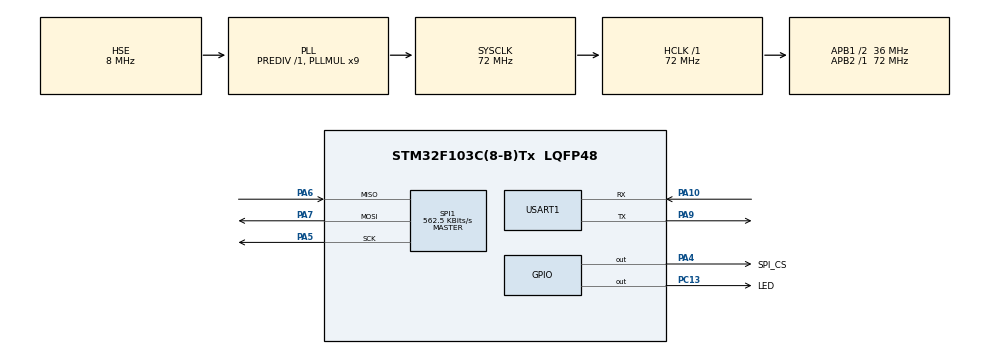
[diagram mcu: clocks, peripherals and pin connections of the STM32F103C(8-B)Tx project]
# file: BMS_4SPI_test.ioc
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Dma.Request0=USART1_RX
Dma.Request1=USART1_TX
Dma.USART1_RX.0.Direction=DMA_PERIPH_TO_MEMORY
Dma.USART1_RX.0.Instance=DMA1_Channel5
Dma.USART1_RX.0.MemDataAlignment=DMA_MDATAALIGN_BYTE
Dma.USART1_RX.0.MemInc=DMA_MINC_ENABLE
Dma.USART1_RX.0.Mode=DMA_NORMAL
Dma.USART1_RX.0.PeriphDataAlignment=DMA_PDATAALIGN_BYTE
Dma.USART1_RX.0.PeriphInc=DMA_PINC_DISABLE
Dma.USART1_RX.0.Priority=DMA_PRIORITY_LOW
Dma.USART1_TX.1.Direction=DMA_MEMORY_TO_PERIPH
Dma.USART1_TX.1.Instance=DMA1_Channel4
Dma.USART1_TX.1.MemDataAlignment=DMA_MDATAALIGN_BYTE
Dma.USART1_TX.1.MemInc=DMA_MINC_ENABLE
Dma.USART1_TX.1.Mode=DMA_NORMAL
Dma.USART1_TX.1.PeriphDataAlignment=DMA_PDATAALIGN_BYTE
Dma.USART1_TX.1.PeriphInc=DMA_PINC_DISABLE
Dma.USART1_TX.1.Priority=DMA_PRIORITY_LOW
Mcu.Family=STM32F1
Mcu.Name=STM32F103C(8-B)Tx
Mcu.Package=LQFP48
NVIC.DMA1_Channel4_IRQn=true\:0\:0\:false\:false\:true\:false\:true\:true
NVIC.DMA1_Channel5_IRQn=true\:0\:0\:false\:false\:true\:false\:true\:true
NVIC.PriorityGroup=NVIC_PRIORITYGROUP_4
NVIC.USART1_IRQn=true\:0\:0\:false\:false\:true\:true\:true\:true
PA10.Mode=Asynchronous
PA10.Signal=USART1_RX
PA13.Mode=Serial_Wire
PA13.Signal=SYS_JTMS-SWDIO
PA14.Mode=Serial_Wire
PA14.Signal=SYS_JTCK-SWCLK
PA4.GPIO_Label=SPI_CS
PA4.Signal=GPIO_Output
PA5.Mode=Full_Duplex_Master
PA5.Signal=SPI1_SCK
PA6.Mode=Full_Duplex_Master
PA6.Signal=SPI1_MISO
PA7.Mode=Full_Duplex_Master
PA7.Signal=SPI1_MOSI
PA9.Mode=Asynchronous
PA9.Signal=USART1_TX
PC13-TAMPER-RTC.GPIO_Label=LED
PC13-TAMPER-RTC.Signal=GPIO_Output
PD0-OSC_IN.Mode=HSE-External-Oscillator
PD0-OSC_IN.Signal=RCC_OSC_IN
PD1-OSC_OUT.Mode=HSE-External-Oscillator
PD1-OSC_OUT.Signal=RCC_OSC_OUT
ProjectManager.HeapSize=0x200
ProjectManager.StackSize=0x400
ProjectManager.TargetToolchain=CMake
RCC.AHBFreq_Value=72000000
RCC.APB1CLKDivider=RCC_HCLK_DIV2
RCC.APB1Freq_Value=36000000
RCC.APB1TimFreq_Value=72000000
RCC.APB2Freq_Value=72000000
RCC.APB2TimFreq_Value=72000000
RCC.HCLKFreq_Value=72000000
RCC.PLLMUL=RCC_PLL_MUL9
RCC.PLLSourceVirtual=RCC_PLLSOURCE_HSE
RCC.SYSCLKFreq_VALUE=72000000
RCC.SYSCLKSource=RCC_SYSCLKSOURCE_PLLCLK
RCC.USBFreq_Value=72000000
SPI1.BaudRatePrescaler=SPI_BAUDRATEPRESCALER_128
SPI1.CLKPhase=SPI_PHASE_2EDGE
SPI1.CLKPolarity=SPI_POLARITY_HIGH
SPI1.CalculateBaudRate=562.5 KBits/s
SPI1.Direction=SPI_DIRECTION_2LINES
SPI1.Mode=SPI_MODE_MASTER
SPI1.VirtualType=VM_MASTER
USART1.VirtualMode=VM_ASYNC
board=custom

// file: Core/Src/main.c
/* USER CODE BEGIN Header */
/**
 ******************************************************************************
 * @file           : main.c
 * @brief          : Main program body
 ******************************************************************************
 * @attention
 *
 * Copyright (c) 2026 STMicroelectronics.
 * All rights reserved.
 *
 * This software is licensed under terms that can be found in the LICENSE file
 * in the root directory of this software component.
 * If no LICENSE file comes with this software, it is provided AS-IS.
 *
 ******************************************************************************
 */
/* USER CODE END Header */
#include "main.h"
#include "dma.h"
#include "spi.h"
#include "stm32f1xx_hal.h"
#include "usart.h"
#include "gpio.h"

/* USER CODE BEGIN Includes */
#include <stdint.h>
#include <stdio.h>
#include <string.h>
#include <math.h>
#include "ltc6811.h"
#include "bms.h"
#include "temperature.h"
/* USER CODE END Includes */

/* USER CODE BEGIN PTD */
typedef struct
{
  uint8_t ov;
  uint8_t uv;
  uint8_t ot;
  uint8_t ut;
  uint8_t open;
  uint8_t comm;
} AMS_Fault_t;
/* USER CODE END PTD */

/* USER CODE BEGIN PV */
uint16_t cell_raw[TOTAL_CELL]; // 存储所有电池的电压
CellFault_t fault[TOTAL_CELL];
AMS_Fault_t ams_fault;
float last_voltage[TOTAL_CELL] = {0};
uint8_t ov_cnt[TOTAL_CELL] = {0};
uint8_t uv_cnt[TOTAL_CELL] = {0};
uint8_t open_cnt[TOTAL_CELL] = {0};
uint8_t spike_cnt[TOTAL_CELL] = {0};
uint8_t comm_cnt = 0;
uint8_t uart_dma_busy = 0;
/* USER CODE END PV */

void SystemClock_Config(void);
/* USER CODE BEGIN PFP */
void LTC6811_Init(void);
void LTC6811_write_config(uint8_t *config);
int LTC6811_read_cells(uint16_t *cell);
uint16_t pec15_calc(uint8_t *data, int len);
void spi_txrx(uint8_t *tx, uint8_t *rx, uint16_t len);
void LTC6811_wakeup(void);
void LTC6811_cmd(uint8_t cmd0, uint8_t cmd1);
void LTC6811_read_reg(uint8_t cmd0, uint8_t cmd1, uint8_t *rx);
void uart_dma_transmit(const char *message);
//void check_voltage_fault(uint16_t *raw);
//void check_open_wire(uint16_t *raw);
//void check_spike(uint16_t *raw);
//void BMS_FaultDetect(uint16_t *cell_raw);
float raw_to_voltage(uint16_t raw);
void LTC6811_clear_status(void);
void LTC6811_read_status(void);
void LTC6811_start_conversion(void);
/* USER CODE END PFP */

/* USER CODE BEGIN 0 */
void HAL_UART_TxCpltCallback(UART_HandleTypeDef *huart);

void uart_dma_transmit(const char *message) {
  // 等待上一次传输完成
  uint32_t timeout = 1000; // 1秒超时
  while (uart_dma_busy && timeout--) {
    HAL_Delay(1);
  }

  uart_dma_busy = 1;
  HAL_UART_Transmit_DMA(&huart1, (uint8_t *)message, strlen(message));

  // 等待当前传输完成，确保 message 内容在 DMA 传输期间仍然有效
  timeout = 1000;
  while (uart_dma_busy && timeout--) {
    HAL_Delay(1);
  }
}

void HAL_UART_TxCpltCallback(UART_HandleTypeDef *huart) {
  if (huart->Instance == USART1) {
    uart_dma_busy = 0;
  }
}
/* USER CODE END 0 */

int main(void)
{

  /* MCU Configuration--------------------------------------------------------*/

  /* Reset of all peripherals, Initializes the Flash interface and the Systick. */
  HAL_Init();

  /* Configure the system clock */
  SystemClock_Config();

  /* Initialize all configured peripherals */
  MX_GPIO_Init();
  MX_DMA_Init();
  MX_SPI1_Init();
  MX_USART1_UART_Init();
  /* USER CODE BEGIN 2 */

  // 初始化LTC6811
  LTC6811_Init();
  Temperature_Init();

  // 初始化变量
  memset(cell_raw, 0, sizeof(cell_raw));
  memset(fault, 0, sizeof(fault));
  memset(last_voltage, 0, sizeof(last_voltage));
  memset(ov_cnt, 0, sizeof(ov_cnt));
  memset(uv_cnt, 0, sizeof(uv_cnt));
  memset(open_cnt, 0, sizeof(open_cnt));
  memset(spike_cnt, 0, sizeof(spike_cnt));
  comm_cnt = 0;
  /* USER CODE END 2 */

  /* Infinite loop */
  /* USER CODE BEGIN WHILE */
  while (1) {
    LTC6811_start_conversion();
    // 读取15节电池
    if (LTC6811_read_cells(cell_raw) == 0)
    {
      // 故障检测
      /*
      BMS_FaultDetect(cell_raw);

      // 打印故障信息
      for (int i = 0; i < 15; i++) {
        if (fault[i].ov) {
          char buffer[64];
          snprintf(buffer, sizeof(buffer), "Cell %d OV!\r\n", i + 1);
          uart_dma_transmit(buffer);
        }
        if (fault[i].uv) {
          char buffer[64];
          snprintf(buffer, sizeof(buffer), "Cell %d UV!\r\n", i + 1);
          uart_dma_transmit(buffer);
        }
        if (fault[i].open) {
          char buffer[64];
          snprintf(buffer, sizeof(buffer), "Cell %d OPEN!\r\n", i + 1);
          uart_dma_transmit(buffer);
        }
        if (fault[i].spike) {
          char buffer[64];
          snprintf(buffer, sizeof(buffer), "Cell %d SPIKE!\r\n", i + 1);
          uart_dma_transmit(buffer);
        }
      }*/

      // 打印电压
      char buffer[128];
      snprintf(buffer, sizeof(buffer), "Cell Voltages:\r\n");
      uart_dma_transmit(buffer);

      for (int i = 0; i < TOTAL_CELL; i++) {
        unsigned int raw = cell_raw[i];
        unsigned int volts = raw / 10000;
        unsigned int frac = raw % 10000;
        snprintf(buffer, sizeof(buffer), "Cell %02d: %u.%04u V\r\n", i + 1, volts, frac);
        uart_dma_transmit(buffer);
      }

      float temperature_c = 0.0f;
      int temp_result = Temperature_ReadGPIO4(&temperature_c);
      if (temp_result == 0) {
        int temp100 = (int)(temperature_c * 100.0f + (temperature_c >= 0 ? 0.5f : -0.5f));
        int temp_int = temp100 / 100;
        int temp_frac = temp100 % 100;
        if (temp_frac < 0) {
          temp_frac = -temp_frac;
        }
        snprintf(buffer, sizeof(buffer), "GPIO4 Temperature: %d.%02d C\r\n", temp_int, temp_frac);
      } else {
        if (temp_result == -2) {
          snprintf(buffer, sizeof(buffer), "GPIO4 Temperature Read Error: Raw value is 0\r\n");
        } else if (temp_result == -3) {
          snprintf(buffer, sizeof(buffer), "GPIO4 Temperature Read Error: Invalid temperature (NaN)\r\n");
        } else if (temp_result < 0) {
          // PEC 失败，temp_result = -(grp * TOTAL_IC + ic + 1)
          int error_code = -temp_result - 1;
          int grp = error_code / TOTAL_IC;
          int ic = error_code % TOTAL_IC;
          snprintf(buffer, sizeof(buffer), "GPIO4 Temperature Read Error: PEC failure in group %d, IC %d\r\n", grp, ic);
        } else {
          snprintf(buffer, sizeof(buffer), "GPIO4 Temperature Read Error: Unknown error %d\r\n", temp_result);
        }
      }
      uart_dma_transmit(buffer);

      snprintf(buffer, sizeof(buffer), "----------------------\r\n");
      uart_dma_transmit(buffer);

    }
    else {
      char buffer[64];
      snprintf(buffer, sizeof(buffer), "LTC6811 Read Error!\r\n");
      uart_dma_transmit(buffer);
      HAL_Delay(10);
      comm_cnt++;
      if (comm_cnt >= COMM_FAULT_TH) {
        ams_fault.comm = 1;
        snprintf(buffer, sizeof(buffer), "Communication Fault!\r\n");
        uart_dma_transmit(buffer);
      }
    }

    HAL_Delay(1000);
    /* USER CODE END WHILE */

  }
}

void SystemClock_Config(void)
{
  RCC_OscInitTypeDef RCC_OscInitStruct = {0};
  RCC_ClkInitTypeDef RCC_ClkInitStruct = {0};

  /** Initializes the RCC Oscillators according to the specified parameters
  * in the RCC_OscInitTypeDef structure.
  */
  RCC_OscInitStruct.OscillatorType = RCC_OSCILLATORTYPE_HSE;
  RCC_OscInitStruct.HSEState = RCC_HSE_ON;
  RCC_OscInitStruct.HSEPredivValue = RCC_HSE_PREDIV_DIV1;
  RCC_OscInitStruct.HSIState = RCC_HSI_ON;
  RCC_OscInitStruct.PLL.PLLState = RCC_PLL_ON;
  RCC_OscInitStruct.PLL.PLLSource = RCC_PLLSOURCE_HSE;
  RCC_OscInitStruct.PLL.PLLMUL = RCC_PLL_MUL9;
  if (HAL_RCC_OscConfig(&RCC_OscInitStruct) != HAL_OK)
  {
    Error_Handler();
  }

  /** Initializes the CPU, AHB and APB buses clocks
  */
  RCC_ClkInitStruct.ClockType = RCC_CLOCKTYPE_HCLK|RCC_CLOCKTYPE_SYSCLK
                              |RCC_CLOCKTYPE_PCLK1|RCC_CLOCKTYPE_PCLK2;
  RCC_ClkInitStruct.SYSCLKSource = RCC_SYSCLKSOURCE_PLLCLK;
  RCC_ClkInitStruct.AHBCLKDivider = RCC_SYSCLK_DIV1;
  RCC_ClkInitStruct.APB1CLKDivider = RCC_HCLK_DIV2;
  RCC_ClkInitStruct.APB2CLKDivider = RCC_HCLK_DIV1;

  if (HAL_RCC_ClockConfig(&RCC_ClkInitStruct, FLASH_LATENCY_2) != HAL_OK)
  {
    Error_Handler();
  }
}

void Error_Handler(void)
{
  __disable_irq();
  while (1)
  {
  }
}
